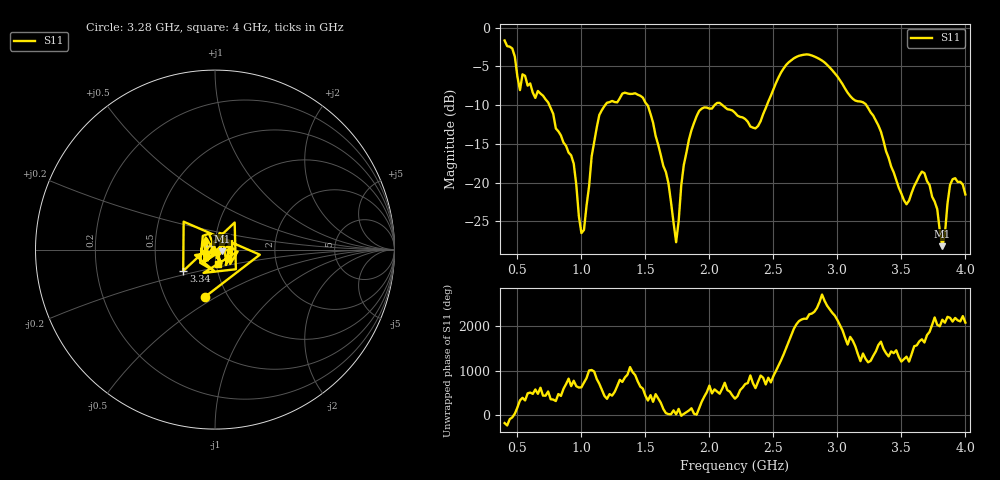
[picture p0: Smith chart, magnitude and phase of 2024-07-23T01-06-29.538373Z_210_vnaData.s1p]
!Created with skrf (http://scikit-rf.org).
# Hz S RI R 50.0
!freq ReS11 ImS11
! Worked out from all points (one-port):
!   181 points, 400 MHz to 4 GHz, reference 50 ohm
!   lowest |S11| = -28.2 dB at 3.82 GHz (marker M1), VSWR 1.08, Z = 53.9 - j0.996 ohm
!   |S11| at or under -10 dB: 750 MHz to 1.185 GHz (435.1 MHz wide, 45 % of centre); 1.516 GHz to 2.04 GHz (523.9 MHz wide, 29.5 % of centre); 3.226 GHz to end of sweep (the widest 3 of 4)
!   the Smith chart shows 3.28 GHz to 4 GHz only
!   S11 on the Smith chart (normalised r, x): 3.28 GHz: 0.78, -0.45; 3.34 GHz: 0.68, -0.17; 4 GHz: 1.02, -0.17
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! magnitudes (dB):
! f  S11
! 400 MHz  -1.6
! 480 MHz  -3.7
! 520 MHz  -8.1
! 540 MHz  -6.0
! 700 MHz  -8.8
! 860 MHz  -14.8
! 940 MHz  -17.6
! 1 GHz  -26.5
! 1.14 GHz  -11.2
! 1.3 GHz  -9.1
! 1.52 GHz  -10.1
! 1.68 GHz  -20.1
! 1.74 GHz  -27.7
! 1.76 GHz  -24.9
! 1.8 GHz  -17.7
! 1.92 GHz  -10.7
! 2.2 GHz  -11.0
! 2.38 GHz  -12.7
! 2.66 GHz  -3.9
! 2.88 GHz  -4.2
! 3.1 GHz  -8.8
! 3.28 GHz  -11.3
! 3.34 GHz  -13.4
! 3.56 GHz  -22.3
! 3.68 GHz  -18.8
! 3.82 GHz  -28.2
! 3.88 GHz  -20.3
! 4 GHz  -21.5
